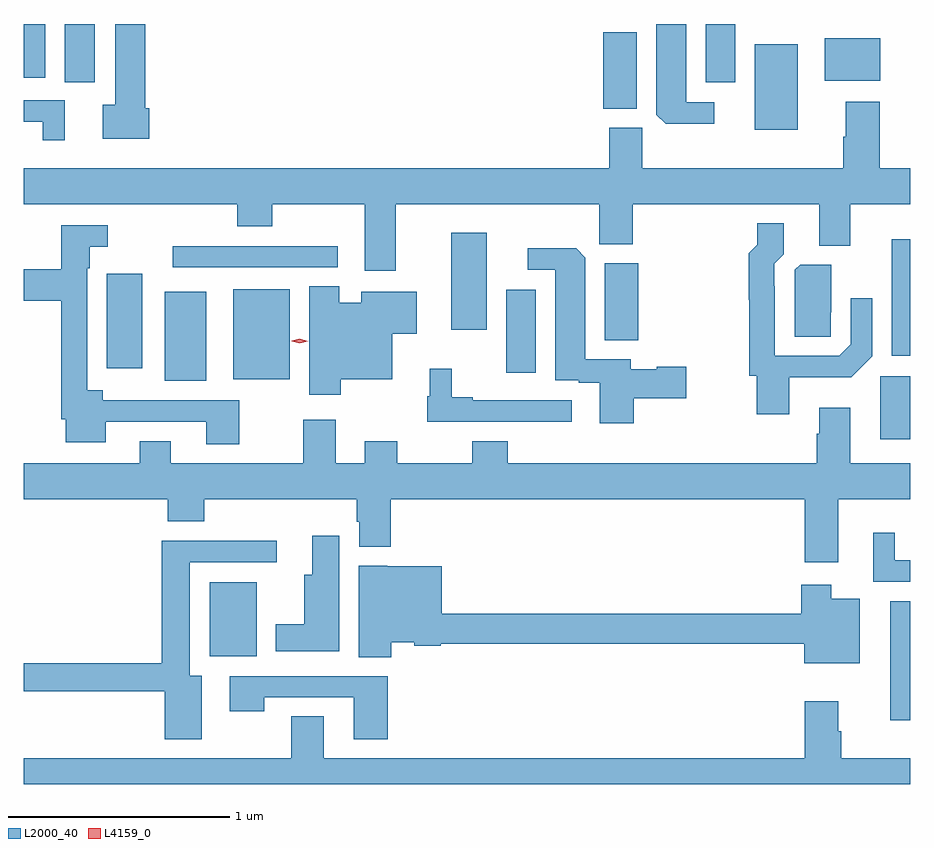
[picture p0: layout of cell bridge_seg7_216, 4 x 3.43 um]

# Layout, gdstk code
import gdstk
lib = gdstk.Library(unit=1e-6, precision=1e-09)
def R(c, l, rs):  # rectangles x0, y0, x1, y1
    for r in rs: c.add(gdstk.rectangle(r[:2], r[2:], *l))
def P(c, l, *ps):  # polygons
    for p in ps: c.add(gdstk.Polygon(p, *l))
L2000_40 = (2000, 40)
L4159_0 = (4159, 0)

bridge_seg7_216 = lib.new_cell('bridge_seg7_216')
R(bridge_seg7_216, L2000_40, [(363.998,998.288,364.087,998.824), (360.926,998.576,361.138,998.911), (363.953,999.555,364.087,999.84), (360.722,999.821,360.91,1000.222), (361.031,999.827,361.288,1000.234), (362.264,999.855,362.398,1000.231), (360.461,999.876,360.622,1000.303), (364.004,999.932,364.087,1000.459), (362.708,1000.003,362.861,1000.35), (362.015,1000.05,362.176,1000.489), (360.759,1000.332,361.504,1000.428), (363.386,1000.952,363.58,1001.338), (362.702,1001.047,362.854,1001.393), (360.272,1001.166,360.406,1001.43), (363.164,1001.166,363.298,1001.43), (363.701,1001.174,363.952,1001.365), (360.087,1001.187,360.184,1001.43)])
P(bridge_seg7_216, L2000_40, [(360.653,1001.049),(360.635,1001.049),(360.635,1001.43),(360.5,1001.43),(360.5,1001.066),(360.444,1001.066),(360.444,1000.913),(360.653,1000.913)],
  [(363.202,1001.076),(363.076,1001.076),(363.076,1001.43),(362.942,1001.43),(362.942,1001.02),(362.983,1000.979),(363.202,1000.979)],
  [(360.271,1001.085),(360.087,1001.085),(360.087,1000.989),(360.173,1000.989),(360.173,1000.905),(360.271,1000.905)],
  [(361.765,1000.616),(362.683,1000.616),(362.683,1000.435),(362.834,1000.435),(362.834,1000.616),(363.677,1000.616),(363.677,1000.429),(363.817,1000.429),(363.817,1000.616),(364.087,1000.616),(364.087,1000.78),(363.95,1000.78),(363.95,1001.08),(363.797,1001.08),(363.797,1000.922),(363.785,1000.922),(363.785,1000.78),(362.879,1000.78),(362.879,1000.962),(362.729,1000.962),(362.729,1000.78),(360.087,1000.78),(360.087,1000.616),(361.049,1000.616),(361.049,1000.517),(361.209,1000.517),(361.209,1000.616),(361.625,1000.616),(361.625,1000.317),(361.765,1000.317)],
  [(363.541,999.836),(363.821,999.836),(363.915,999.93),(363.915,1000.192),(363.819,1000.192),(363.819,999.984),(363.768,999.933),(363.477,999.933),(363.477,1000.247),(363.474,1000.247),(363.474,1000.347),(363.517,1000.39),(363.517,1000.531),(363.397,1000.531),(363.397,1000.433),(363.359,1000.395),(363.359,1000.186),(363.361,1000.186),(363.361,999.843),(363.394,999.843),(363.394,999.669),(363.541,999.669)],
  [(361.059,999.732),(360.442,999.732),(360.442,999.778),(360.372,999.778),(360.372,1000.328),(360.384,1000.328),(360.384,1000.425),(360.466,1000.425),(360.466,1000.521),(360.256,1000.521),(360.256,1000.323),(360.087,1000.323),(360.087,1000.181),(360.256,1000.181),(360.256,999.646),(360.275,999.646),(360.275,999.542),(360.457,999.542),(360.457,999.636),(360.911,999.636),(360.911,999.534),(361.059,999.534)],
  [(362.84,999.742),(363.076,999.742),(363.076,999.884),(362.944,999.884),(362.944,999.871),(362.827,999.871),(362.827,999.918),(362.62,999.918),(362.62,1000.376),(362.579,1000.418),(362.361,1000.418),(362.361,1000.32),(362.486,1000.32),(362.486,999.822),(362.591,999.822),(362.591,999.81),(362.687,999.81),(362.687,999.627),(362.84,999.627)],
  [(363.729,1000.129),(363.73,1000.129),(363.73,1000.344),(363.591,1000.344),(363.567,1000.32),(363.567,1000.018),(363.729,1000.018)],
  [(361.518,999.827),(361.75,999.827),(361.75,1000.031),(361.861,1000.031),(361.861,1000.222),(361.61,1000.222),(361.61,1000.171),(361.51,1000.171),(361.51,1000.247),(361.376,1000.247),(361.376,999.756),(361.518,999.756)],
  [(362.56,999.732),(362.113,999.732),(362.113,999.745),(362.019,999.745),(362.019,999.874),(361.919,999.874),(361.919,999.75),(361.908,999.75),(361.908,999.636),(362.56,999.636)],
  [(363.763,999.284),(364.087,999.284),(364.087,999.448),(363.817,999.448),(363.817,999.697),(363.677,999.697),(363.677,999.581),(363.665,999.581),(363.665,999.448),(362.27,999.448),(362.27,999.547),(362.11,999.547),(362.11,999.448),(361.773,999.448),(361.773,999.547),(361.625,999.547),(361.625,999.448),(361.495,999.448),(361.495,999.643),(361.348,999.643),(361.348,999.448),(360.751,999.448),(360.751,999.547),(360.611,999.547),(360.611,999.448),(360.087,999.448),(360.087,999.284),(360.737,999.284),(360.737,999.185),(360.902,999.185),(360.902,999.284),(361.589,999.284),(361.589,999.183),(361.601,999.183),(361.601,999.071),(361.742,999.071),(361.742,999.284),(363.611,999.284),(363.611,999),(363.763,999)],
  [(364.087,999.009),(364.018,999.009),(364.018,999.133),(363.92,999.133),(363.92,998.913),(364.087,998.913)],
  [(361.51,999.121),(361.388,999.121),(361.388,998.944),(361.352,998.944),(361.352,998.722),(361.223,998.722),(361.223,998.6),(361.51,998.6)],
  [(360.889,998.488),(360.835,998.488),(360.835,999),(361.228,999),(361.228,999.098),(360.71,999.098),(360.71,998.546),(360.087,998.546),(360.087,998.418),(360.722,998.418),(360.722,998.202),(360.889,998.202)],
  [(363.859,998.836),(363.73,998.836),(363.73,998.899),(363.596,998.899),(363.596,998.768),(361.972,998.768),(361.972,998.983),(361.728,998.983),(361.728,998.986),(361.598,998.986),(361.598,998.572),(361.745,998.572),(361.745,998.639),(361.848,998.639),(361.848,998.624),(361.968,998.624),(361.968,998.632),(363.608,998.632),(363.608,998.546),(363.859,998.546)],
  [(361.73,998.487),(361.017,998.487),(361.017,998.328),(361.173,998.328),(361.173,998.391),(361.577,998.391),(361.577,998.202),(361.73,998.202)],
  [(363.611,998.374),(363.611,998.116),(361.441,998.116),(361.441,998.306),(361.294,998.306),(361.294,998.116),(360.087,998.116),(360.087,998),(364.087,998),(364.087,998.116),(363.776,998.116),(363.776,998.237),(363.763,998.237),(363.763,998.374)])
P(bridge_seg7_216, L4159_0, [(361.332,999.989),(361.296,999.999),(361.296,1000),(361.296,1000),(361.332,1000.009),(361.368,999.999),(361.368,999.999),(361.368,999.999)])

lib.write_gds('bridge_seg7_216.gds')
